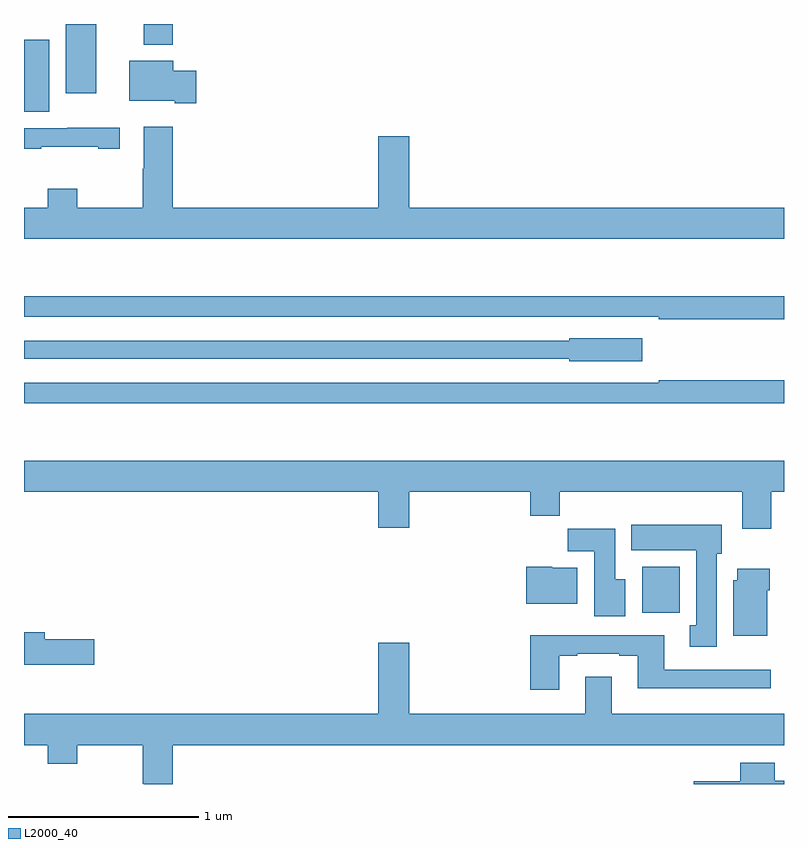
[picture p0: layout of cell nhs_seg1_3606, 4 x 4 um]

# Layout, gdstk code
import gdstk
lib = gdstk.Library(unit=1e-6, precision=1e-09)
def R(c, l, rs):  # rectangles x0, y0, x1, y1
    for r in rs: c.add(gdstk.rectangle(r[:2], r[2:], *l))
def P(c, l, *ps):  # polygons
    for p in ps: c.add(gdstk.Polygon(p, *l))
L2000_40 = (2000, 40)

nhs_seg1_3606 = lib.new_cell('nhs_seg1_3606')
R(nhs_seg1_3606, L2000_40, [(310.253,547.1,310.45,547.342), (307,549.736,307.132,550.117), (307.22,549.834,307.381,550.199), (307.631,550.091,307.784,550.199)])
P(nhs_seg1_3606, L2000_40, [(307.906,549.952),(307.786,549.952),(307.786,550.006),(307.553,550.006),(307.553,549.794),(307.793,549.794),(307.793,549.782),(307.906,549.782)],
  [(311,549.232),(309.028,549.232),(309.028,549.607),(308.864,549.607),(308.864,549.232),(307.784,549.232),(307.784,549.658),(307.631,549.658),(307.631,549.437),(307.624,549.437),(307.624,549.232),(307.281,549.232),(307.281,549.331),(307.126,549.331),(307.126,549.232),(307,549.232),(307,549.068),(311,549.068)],
  [(307.091,549.553),(307.391,549.553),(307.391,549.543),(307.504,549.543),(307.504,549.653),(307.228,549.653),(307.228,549.651),(307,549.651),(307,549.543),(307.091,549.543)],
  [(311,548.767),(307,548.767),(307,548.658),(310.342,548.658),(310.342,548.646),(311,548.646)],
  [(310.255,548.545),(309.87,548.545),(309.87,548.532),(307,548.532),(307,548.436),(309.87,548.436),(309.87,548.423),(310.255,548.423)],
  [(311,548.323),(310.342,548.323),(310.342,548.31),(307,548.31),(307,548.202),(311,548.202)],
  [(307,547.736),(308.864,547.736),(308.864,547.548),(309.028,547.548),(309.028,547.736),(309.665,547.736),(309.665,547.612),(309.821,547.612),(309.821,547.736),(310.781,547.736),(310.781,547.542),(310.934,547.542),(310.934,547.736),(311,547.736),(311,547.9),(307,547.9)],
  [(310.645,547.41),(310.672,547.41),(310.672,547.564),(310.196,547.564),(310.196,547.43),(310.538,547.43),(310.538,547.034),(310.505,547.034),(310.505,546.921),(310.645,546.921)],
  [(310.165,547.276),(310.111,547.276),(310.111,547.543),(309.862,547.543),(309.862,547.424),(310.001,547.424),(310.001,547.083),(310.165,547.083)],
  [(309.913,547.336),(309.78,547.336),(309.78,547.342),(309.644,547.342),(309.644,547.148),(309.913,547.148)],
  [(310.912,547.22),(310.925,547.22),(310.925,547.333),(310.754,547.333),(310.754,547.272),(310.733,547.272),(310.733,546.98),(310.912,546.98)],
  [(307.369,546.962),(307.108,546.962),(307.108,546.998),(307,546.998),(307,546.827),(307.369,546.827)],
  [(309.817,546.873),(309.913,546.873),(309.913,546.885),(310.133,546.885),(310.133,546.873),(310.229,546.873),(310.229,546.704),(310.93,546.704),(310.93,546.801),(310.369,546.801),(310.369,546.981),(309.905,546.981),(309.905,546.982),(309.665,546.982),(309.665,546.696),(309.817,546.696)],
  [(307.784,546.404),(311,546.404),(311,546.568),(310.093,546.568),(310.093,546.763),(309.953,546.763),(309.953,546.568),(309.028,546.568),(309.028,546.943),(308.864,546.943),(308.864,546.568),(307,546.568),(307,546.404),(307.126,546.404),(307.126,546.305),(307.281,546.305),(307.281,546.404),(307.624,546.404),(307.624,546.2),(307.631,546.2),(307.631,546.199),(307.784,546.199)],
  [(311,546.216),(310.951,546.216),(310.951,546.31),(310.769,546.31),(310.769,546.214),(310.524,546.214),(310.524,546.199),(311,546.199)])

lib.write_gds('nhs_seg1_3606.gds')
